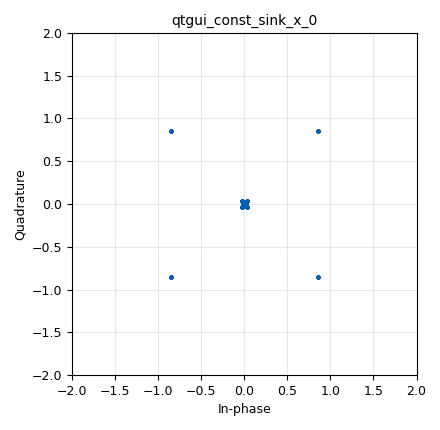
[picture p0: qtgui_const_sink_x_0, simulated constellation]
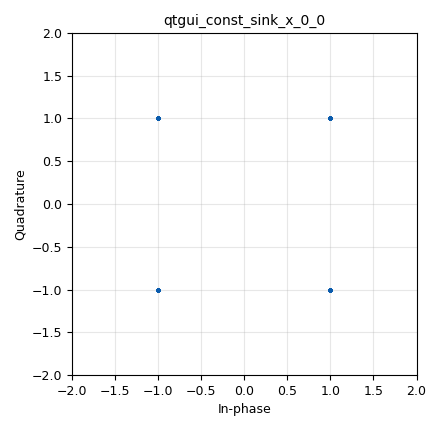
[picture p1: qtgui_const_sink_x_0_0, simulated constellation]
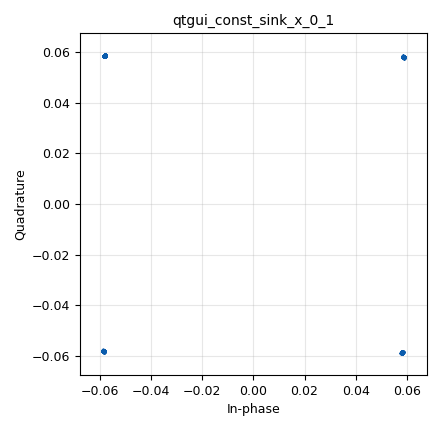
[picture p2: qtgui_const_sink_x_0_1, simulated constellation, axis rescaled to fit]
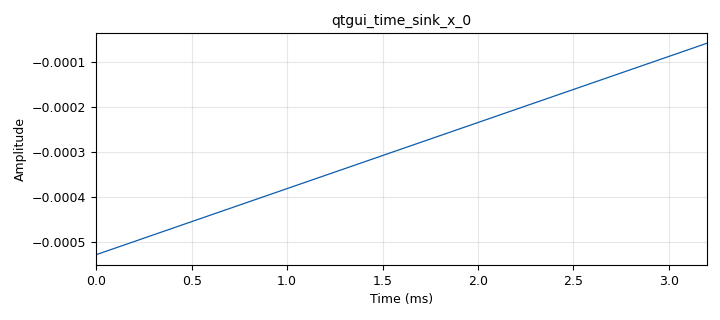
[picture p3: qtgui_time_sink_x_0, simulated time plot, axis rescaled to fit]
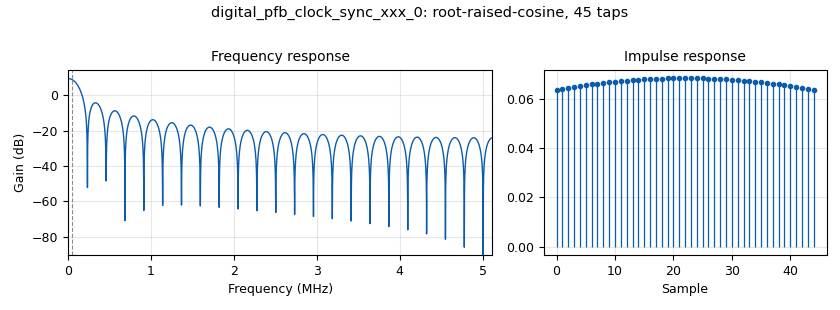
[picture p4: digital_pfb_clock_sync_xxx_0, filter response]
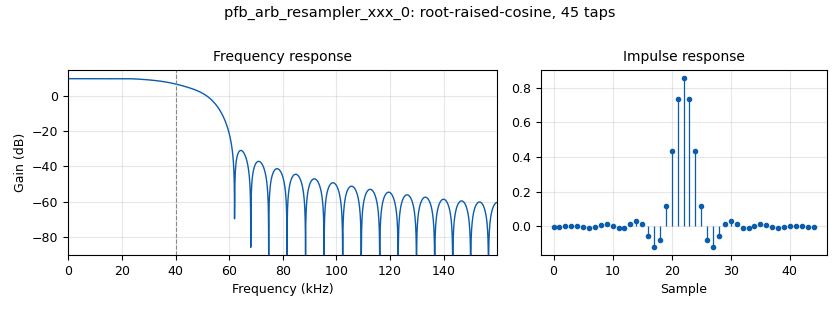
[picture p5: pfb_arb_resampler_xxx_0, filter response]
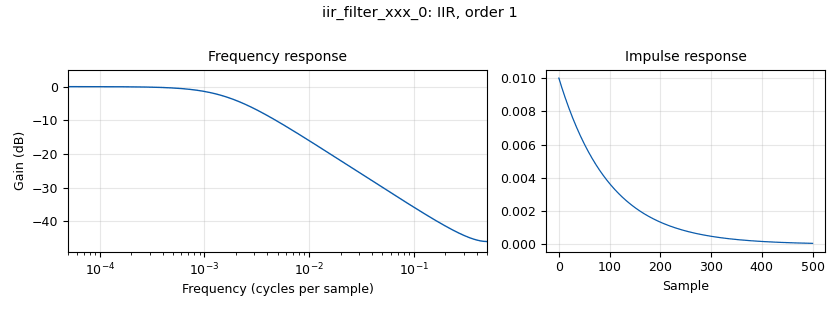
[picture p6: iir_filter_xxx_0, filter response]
options:
  parameters:
    author: rohan
    generate_options: qt_gui
    id: lab10_1b
    output_language: python
    title: Not titled yet
  states: {}

blocks:
- name: samp_rate
  id: variable
  parameters:
    value: '320000'
  states: {}
- name: sps
  id: variable
  parameters:
    value: '4'
  states: {}
- name: symb_rate
  id: variable
  parameters:
    value: samp_rate//sps
  states: {}
- name: analog_random_source_x_0
  id: analog_random_source_x
  parameters:
    max: '4'
    min: '0'
    num_samps: '1000'
    repeat: 'True'
    type: byte
  states: {}
- name: analog_sig_source_x_0
  id: analog_sig_source_x
  parameters:
    amp: '1'
    freq: '0.1'
    offset: '0'
    phase: '0'
    samp_rate: samp_rate
    type: complex
    waveform: analog.GR_SIN_WAVE
  states: {}
- name: blocks_add_const_vxx_0
  id: blocks_add_const_vxx
  parameters:
    const: '-0.5'
    type: float
  states: {}
- name: blocks_add_const_vxx_0_0
  id: blocks_add_const_vxx
  parameters:
    const: '-0.5'
    type: float
  states: {}
- name: blocks_complex_to_float_0
  id: blocks_complex_to_float
  parameters: {}
  states: {}
- name: blocks_multiply_xx_0
  id: blocks_multiply_xx
  parameters:
    type: complex
  states: {}
- name: blocks_multiply_xx_1
  id: blocks_multiply_xx
  parameters:
    type: float
  states: {}
- name: blocks_multiply_xx_1_0
  id: blocks_multiply_xx
  parameters:
    type: float
  states: {}
- name: blocks_sub_xx_0
  id: blocks_sub_xx
  parameters:
    type: float
  states: {}
- name: blocks_threshold_ff_0
  id: blocks_threshold_ff
  parameters:
    high: '0.001'
    init: '0'
    low: '-0.001'
  states: {}
- name: blocks_threshold_ff_0_0
  id: blocks_threshold_ff
  parameters:
    high: '0.001'
    init: '0'
    low: '-0.001'
  states: {}
- name: digital_chunks_to_symbols_xx_0
  id: digital_chunks_to_symbols_xx
  parameters:
    dimension: '1'
    in_type: byte
    out_type: complex
    symbol_table: '[1+1j, -1 + 1j, -1 -1j, 1-1j]'
  states: {}
- name: digital_pfb_clock_sync_xxx_0
  id: digital_pfb_clock_sync_xxx
  parameters:
    filter_size: '32'
    init_phase: '16'
    loop_bw: (2*math.pi)/100
    max_dev: '1.5'
    osps: '1'
    sps: sps
    taps: firdes.root_raised_cosine(3,32*sps*symb_rate,symb_rate,0.5,11*sps)
    type: ccf
  states: {}
- name: iir_filter_xxx_0
  id: iir_filter_xxx
  parameters:
    fbtaps: '[-1,0.99]'
    fftaps: '0.01'
    type: ffd
  states: {}
- name: import_0
  id: import
  parameters:
    imports: import math
  states: {}
- name: mytabs
  id: qtgui_tab_widget
  parameters:
    label0: Tab 0
    label1: Tab 1
    label2: Tab 2
    label3: Tab 3
    label4: Tab 4
    label5: Tab 5
    label6: Tab 6
    label7: Tab 7
    label8: Tab 8
    label9: Tab 9
    num_tabs: '10'
  states: {}
- name: pfb_arb_resampler_xxx_0
  id: pfb_arb_resampler_xxx
  parameters:
    atten: '100'
    nfilts: '32'
    rrate: sps
    taps: firdes.root_raised_cosine(3,sps*symb_rate,symb_rate,0.5,11*sps)
    type: ccf
  states: {}
- name: qtgui_const_sink_x_0
  id: qtgui_const_sink_x
  parameters:
    gui_hint: mytabs@0
    size: '1024'
    type: complex
  states: {}
- name: qtgui_const_sink_x_0_0
  id: qtgui_const_sink_x
  parameters:
    gui_hint: mytabs@1
    size: '1024'
    type: complex
  states: {}
- name: qtgui_const_sink_x_0_1
  id: qtgui_const_sink_x
  parameters:
    gui_hint: mytabs@2
    size: '1024'
    type: complex
  states: {}
- name: qtgui_time_sink_x_0
  id: qtgui_time_sink_x
  parameters:
    ctrlpanel: 'True'
    gui_hint: mytabs@3
    size: '1024'
    srate: samp_rate
    type: float
  states: {}
- name: virtual_sink_0
  id: virtual_sink
  parameters: {}
  states: {}
- name: virtual_source_0
  id: virtual_source
  parameters: {}
  states: {}

connections:
- [analog_random_source_x_0, '0', digital_chunks_to_symbols_xx_0, '0']
- [analog_sig_source_x_0, '0', blocks_multiply_xx_0, '1']
- [blocks_add_const_vxx_0, '0', blocks_multiply_xx_1, '0']
- [blocks_add_const_vxx_0_0, '0', blocks_multiply_xx_1_0, '1']
- [blocks_complex_to_float_0, '0', blocks_multiply_xx_1_0, '0']
- [blocks_complex_to_float_0, '0', blocks_threshold_ff_0, '0']
- [blocks_complex_to_float_0, '1', blocks_multiply_xx_1, '1']
- [blocks_complex_to_float_0, '1', blocks_threshold_ff_0_0, '0']
- [blocks_multiply_xx_0, '0', digital_pfb_clock_sync_xxx_0, '0']
- [blocks_multiply_xx_1, '0', blocks_sub_xx_0, '0']
- [blocks_multiply_xx_1_0, '0', blocks_sub_xx_0, '1']
- [blocks_sub_xx_0, '0', iir_filter_xxx_0, '0']
- [blocks_threshold_ff_0, '0', blocks_add_const_vxx_0, '0']
- [blocks_threshold_ff_0_0, '0', blocks_add_const_vxx_0_0, '0']
- [digital_chunks_to_symbols_xx_0, '0', pfb_arb_resampler_xxx_0, '0']
- [digital_chunks_to_symbols_xx_0, '0', qtgui_const_sink_x_0_0, '0']
- [digital_pfb_clock_sync_xxx_0, '0', qtgui_const_sink_x_0_1, '0']
- [digital_pfb_clock_sync_xxx_0, '0', virtual_sink_0, '0']
- [iir_filter_xxx_0, '0', qtgui_time_sink_x_0, '0']
- [pfb_arb_resampler_xxx_0, '0', blocks_multiply_xx_0, '0']
- [pfb_arb_resampler_xxx_0, '0', qtgui_const_sink_x_0, '0']
- [virtual_source_0, '0', blocks_complex_to_float_0, '0']

metadata:
  file_format: 1
